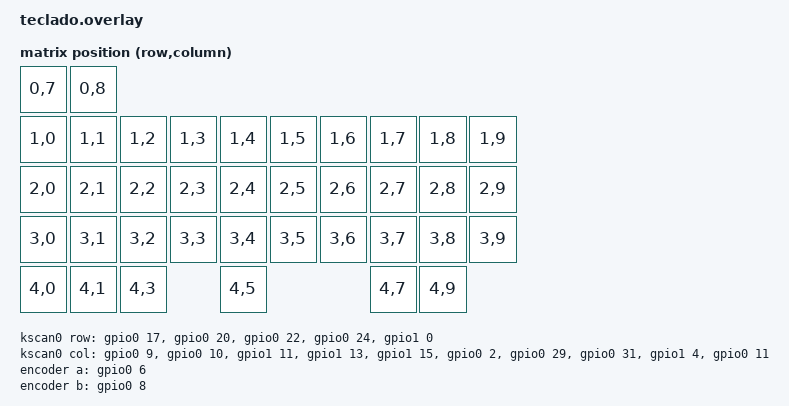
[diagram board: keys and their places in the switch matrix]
#include <dt-bindings/zmk/matrix_transform.h>

/ {
    chosen {
        zmk,kscan = &kscan0;
        zmk,matrix_transform = &default_transform;
    };

    kscan0: kscan {
        compatible = "zmk,kscan-gpio-matrix";
        label = "KSCAN";
        diode-direction = "col2row"; // Cambiar a "row2col" si orientaste los diodos al revés

        // Filas: F0 (P0.17), F1 (P0.20), F2 (P0.22), F3 (P0.24), F4 (P1.00)
        row-gpios
            = <&gpio0 17 (GPIO_ACTIVE_HIGH | GPIO_PULL_DOWN)>
            , <&gpio0 20 (GPIO_ACTIVE_HIGH | GPIO_PULL_DOWN)>
            , <&gpio0 22 (GPIO_ACTIVE_HIGH | GPIO_PULL_DOWN)>
            , <&gpio0 24 (GPIO_ACTIVE_HIGH | GPIO_PULL_DOWN)>
            , <&gpio1  0 (GPIO_ACTIVE_HIGH | GPIO_PULL_DOWN)>
            ;

        // Columnas: C0 (P0.09) a C9 (P0.11)
        col-gpios
            = <&gpio0  9 GPIO_ACTIVE_HIGH> // C0
            , <&gpio0 10 GPIO_ACTIVE_HIGH> // C1
            , <&gpio1 11 GPIO_ACTIVE_HIGH> // C2
            , <&gpio1 13 GPIO_ACTIVE_HIGH> // C3
            , <&gpio1 15 GPIO_ACTIVE_HIGH> // C4
            , <&gpio0  2 GPIO_ACTIVE_HIGH> // C5
            , <&gpio0 29 GPIO_ACTIVE_HIGH> // C6
            , <&gpio0 31 GPIO_ACTIVE_HIGH> // C7
            , <&gpio1  4 GPIO_ACTIVE_HIGH> // C8
            , <&gpio0 11 GPIO_ACTIVE_HIGH> // C9
            ;
    };

    // Configuración del Encoder KY-040
    encoder: encoder {
        compatible = "alps,ec11";
        label = "ENCODER";
        a-gpios = <&gpio0 6 (GPIO_ACTIVE_LOW | GPIO_PULL_UP)>; // Pin A (CLK) -> P0.06
        b-gpios = <&gpio0 8 (GPIO_ACTIVE_LOW | GPIO_PULL_UP)>; // Pin B (DT)  -> P0.08
        steps = <80>;
    };

    sensors {
        compatible = "zmk,keymap-sensors";
        sensors = <&encoder>;
        triggers-per-rotation = <20>;
    };

    default_transform: keymap_transform_0 {
        compatible = "zmk,matrix-transform";
        columns = <10>;
        rows = <5>;
        map = <
            RC(0,7) RC(0,8)
            RC(1,0) RC(1,1) RC(1,2) RC(1,3) RC(1,4) RC(1,5) RC(1,6) RC(1,7) RC(1,8) RC(1,9)
            RC(2,0) RC(2,1) RC(2,2) RC(2,3) RC(2,4) RC(2,5) RC(2,6) RC(2,7) RC(2,8) RC(2,9)
            RC(3,0) RC(3,1) RC(3,2) RC(3,3) RC(3,4) RC(3,5) RC(3,6) RC(3,7) RC(3,8) RC(3,9)
            RC(4,0) RC(4,1) RC(4,3)         RC(4,5)                 RC(4,7) RC(4,9)
        >;
    };
};
